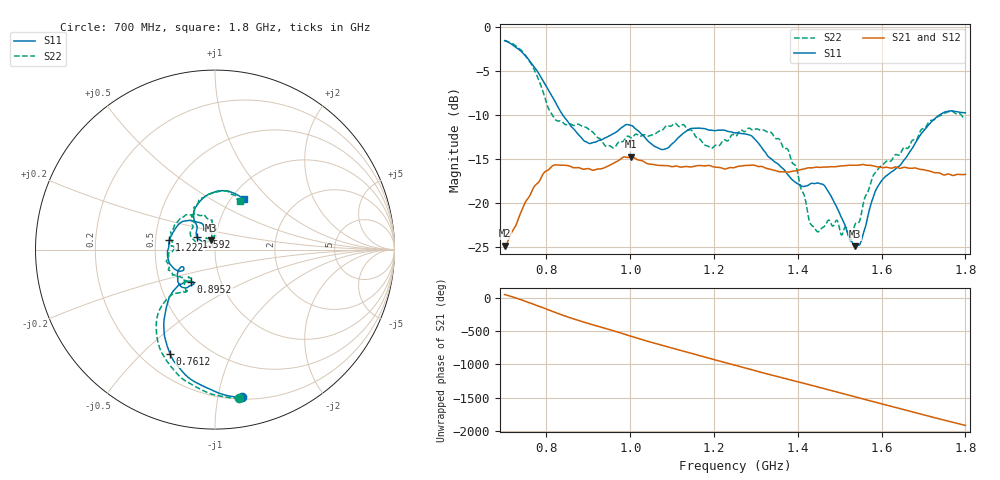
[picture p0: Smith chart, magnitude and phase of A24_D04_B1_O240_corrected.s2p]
! Created with skrf 1.9.0 (http://scikit-rf.org).
# Hz S RI R 50.0
!freq ReS11 ImS11 ReS21 ImS21 ReS12 ImS12 ReS22 ImS22
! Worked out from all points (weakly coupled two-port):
!   1601 points, 700 MHz to 1.8 GHz, reference 50 ohm
!   highest |S21| = -14.73 dB at 1.002 GHz (marker M1); lowest = -24.8 dB at 700.7 MHz (marker M2)
!   lowest |S11| = -24.9 dB at 1.537 GHz (marker M3), VSWR 1.12, Z = 47.3 + j4.85 ohm
!   |S11| at or under -10 dB: 838.8 MHz to 1.738 GHz (899.3 MHz wide, 69.8 % of centre)
!   |S22| runs from -24.3 to -1.5 dB; largest |S21 - S12| = 0.0033
!   S11 on the Smith chart (normalised r, x): 700 MHz: 0.21, -1.18; 761.2 MHz: 0.31, -0.61; 895.2 MHz: 0.72, -0.27; 1.222 GHz: 0.59, +0.07; 1.592 GHz: 0.81, +0.12; 1.8 GHz: 1.15, +0.72
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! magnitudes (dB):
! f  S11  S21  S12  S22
! 700 MHz  -1.5  -24.8  -24.6  -1.5
! 700.7 MHz  -1.6  -24.8  -24.5  -1.5
! 761.2 MHz  -3.9  -19.1  -19.0  -4.0
! 819.6 MHz  -8.4  -15.7  -15.8  -10.4
! 883.6 MHz  -12.6  -16.1  -16.0  -11.2
! 895.2 MHz  -13.1  -16.1  -16.2  -11.4
! 957.8 MHz  -12.2  -15.5  -15.5  -13.7
! 1.002 GHz  -11.2  -14.7  -14.8  -12.6
! 1.067 GHz  -13.8  -15.7  -15.7  -11.9
! 1.145 GHz  -11.5  -15.9  -15.9  -11.7
! 1.222 GHz  -11.7  -16.1  -16.1  -12.8
! 1.25 GHz  -12.0  -15.9  -15.9  -12.4
! 1.356 GHz  -15.7  -16.4  -16.4  -12.8
! 1.396 GHz  -17.7  -16.3  -16.3  -15.9
! 1.434 GHz  -17.8  -16.0  -16.0  -22.6
! 1.467 GHz  -18.3  -15.9  -15.9  -22.4
! 1.525 GHz  -24.1  -15.7  -15.7  -24.3
! 1.537 GHz  -24.9  -15.7  -15.7  -22.4
! 1.592 GHz  -18.1  -15.9  -15.9  -16.1
! 1.617 GHz  -16.7  -16.0  -15.9  -15.2
! 1.731 GHz  -10.2  -16.6  -16.5  -10.3
! 1.8 GHz  -9.8  -16.7  -16.7  -10.3
